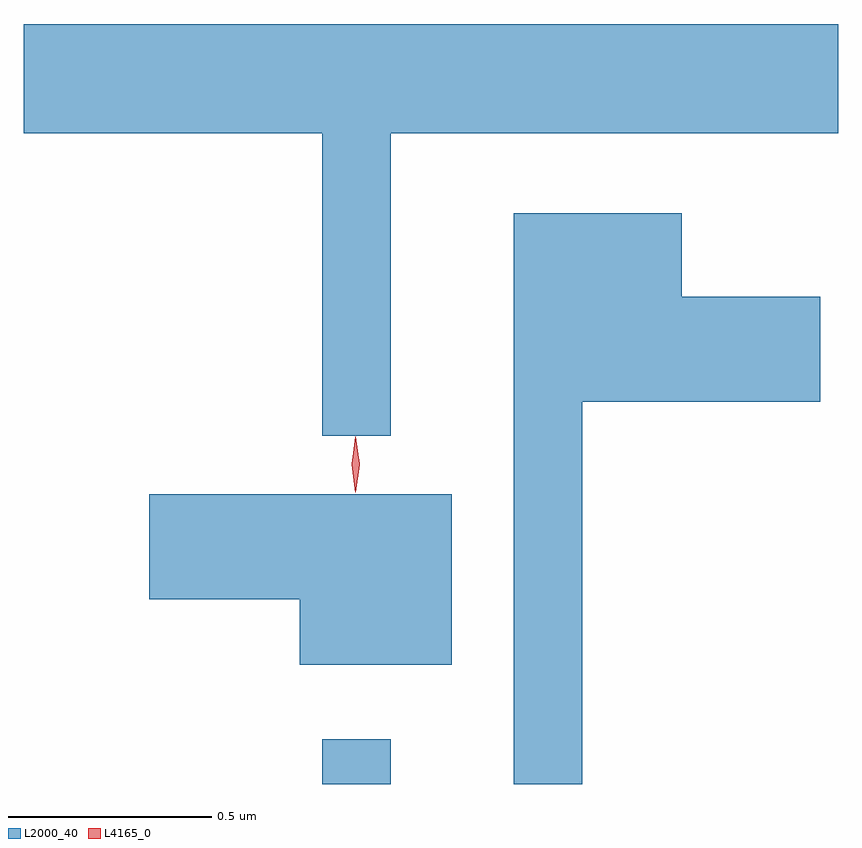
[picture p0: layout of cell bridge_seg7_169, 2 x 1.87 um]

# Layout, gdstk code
import gdstk
lib = gdstk.Library(unit=1e-6, precision=1e-09)
def R(c, l, rs):  # rectangles x0, y0, x1, y1
    for r in rs: c.add(gdstk.rectangle(r[:2], r[2:], *l))
def P(c, l, *ps):  # polygons
    for p in ps: c.add(gdstk.Polygon(p, *l))
L2000_40 = (2000, 40)
L4165_0 = (4165, 0)

bridge_seg7_169 = lib.new_cell('bridge_seg7_169')
R(bridge_seg7_169, L2000_40, [(1630.971,1703.838,1631.139,1703.948)])
P(bridge_seg7_169, L2000_40, [(1631.139,1705.436),(1632.238,1705.436),(1632.238,1705.704),(1630.238,1705.704),(1630.238,1705.436),(1630.971,1705.436),(1630.971,1704.693),(1631.139,1704.693)],
  [(1631.609,1704.776),(1632.194,1704.776),(1632.194,1705.034),(1631.854,1705.034),(1631.854,1705.239),(1631.441,1705.239),(1631.441,1703.838),(1631.609,1703.838)],
  [(1631.289,1704.549),(1630.546,1704.549),(1630.546,1704.291),(1630.916,1704.291),(1630.916,1704.131),(1631.289,1704.131)])
P(bridge_seg7_169, L4165_0, [(1631.052,1704.554),(1631.043,1704.622),(1631.052,1704.69),(1631.053,1704.69),(1631.053,1704.69),(1631.063,1704.622),(1631.053,1704.554),(1631.053,1704.554)],
  [(1631.052,1704.56),(1631.043,1704.624),(1631.052,1704.686),(1631.053,1704.687),(1631.053,1704.686),(1631.063,1704.624),(1631.053,1704.56),(1631.053,1704.56)])

lib.write_gds('bridge_seg7_169.gds')
